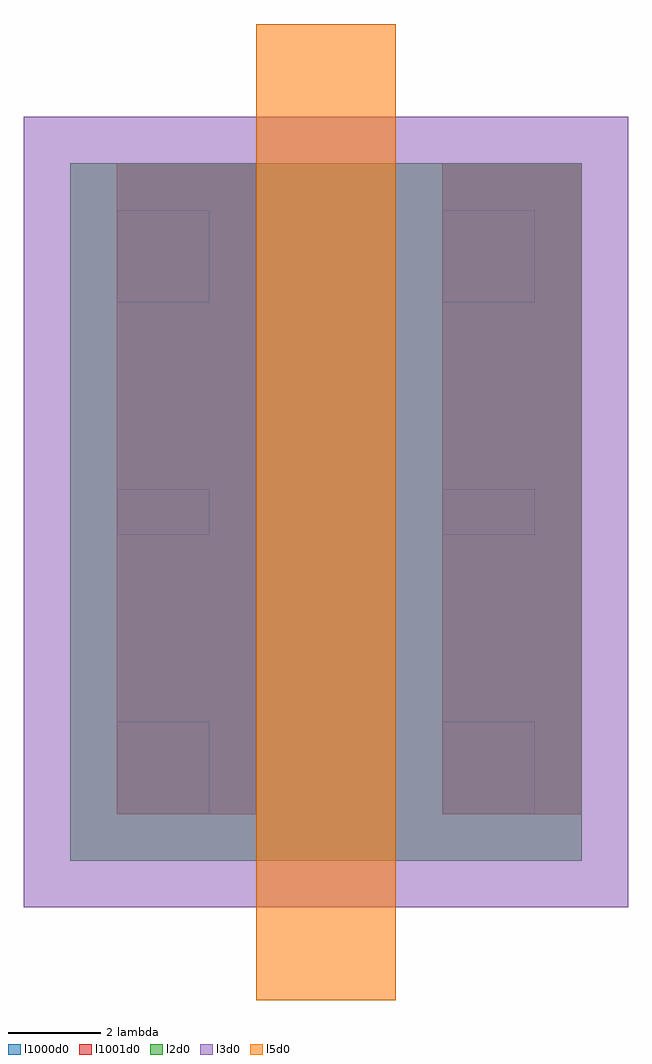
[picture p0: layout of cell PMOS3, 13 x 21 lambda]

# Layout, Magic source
magic
<< l5d0 >>
rect 4 -3 7 18
rect 4 -3 7 18
<< l1001d0 >>
rect 8 1 11 15
rect 1 1 4 15
<< l2d0 >>
rect 0 0 11 15
rect 0 0 11 15
<< l1000d0 >>
rect 1 7 3 8
rect 8 7 10 8
rect 1 1 3 3
rect 8 1 10 3
rect 8 12 10 14
rect 1 12 3 14
<< l3d0 >>
rect -1 -1 12 16
<< end >>
